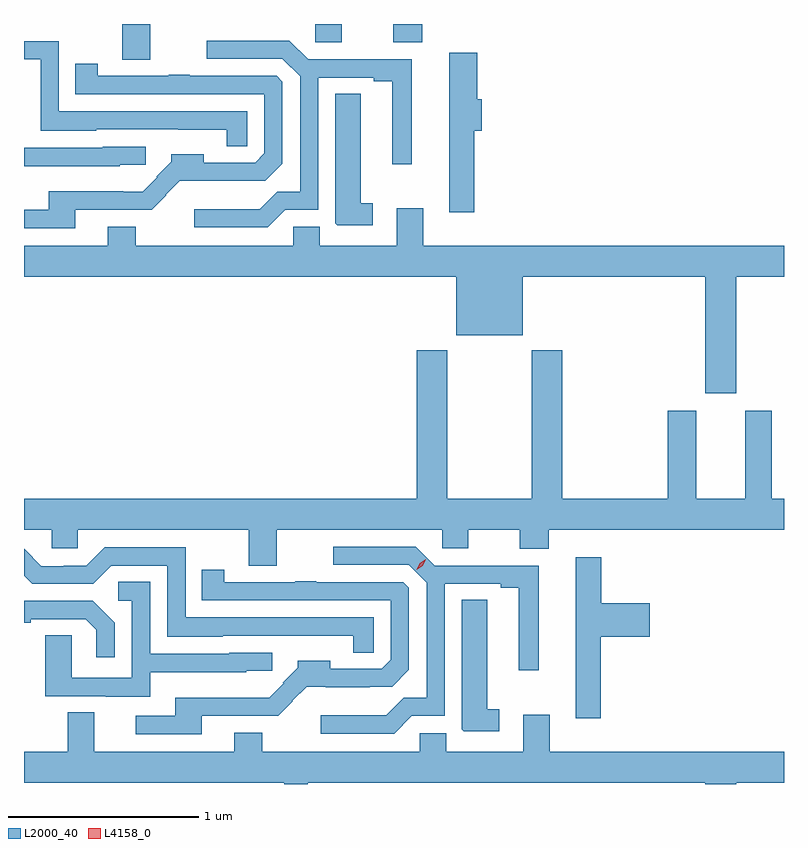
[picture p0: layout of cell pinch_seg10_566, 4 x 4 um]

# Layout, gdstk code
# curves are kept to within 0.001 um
import gdstk
lib = gdstk.Library(unit=1e-6, precision=1e-09)
def R(c, l, rs):  # rectangles x0, y0, x1, y1
    for r in rs: c.add(gdstk.rectangle(r[:2], r[2:], *l))
def P(c, l, *ps):  # polygons
    for p in ps: c.add(gdstk.Polygon(p, *l))
L2000_40 = (2000, 40)
L4158_0 = (4158, 0)

pinch_seg10_566 = lib.new_cell('pinch_seg10_566')
R(pinch_seg10_566, L2000_40, [(305.242,1289.47,305.389,1289.658), (306.668,1289.561,306.821,1289.658), (306.258,1289.562,306.397,1289.658)])
P(pinch_seg10_566, L2000_40, [(306.099,1288.68),(306.273,1288.68),(306.273,1289.376),(306.566,1289.376),(306.566,1289.356),(306.662,1289.356),(306.662,1288.92),(306.766,1288.92),(306.766,1289.472),(306.22,1289.472),(306.121,1289.571),(305.685,1289.571),(305.685,1289.475),(306.084,1289.475),(306.177,1289.382),(306.177,1288.775),(306.056,1288.775),(305.965,1288.684),(305.619,1288.684),(305.619,1288.587),(306.006,1288.587)],
  [(305.898,1289.199),(304.908,1289.199),(304.908,1289.568),(304.724,1289.568),(304.724,1289.472),(304.812,1289.472),(304.812,1289.096),(305.103,1289.096),(305.103,1289.103),(305.535,1289.103),(305.535,1289.102),(305.79,1289.102),(305.79,1289.014),(305.898,1289.014)],
  [(307.094,1289.096),(307.133,1289.096),(307.133,1289.262),(307.109,1289.262),(307.109,1289.506),(306.962,1289.506),(306.962,1288.668),(307.094,1288.668)],
  [(304.993,1288.68),(305.397,1288.68),(305.473,1288.757),(305.471,1288.759),(305.545,1288.833),(305.879,1288.832),(305.879,1288.834),(305.995,1288.834),(306.084,1288.923),(306.084,1289.355),(306.054,1289.385),(305.597,1289.385),(305.597,1289.39),(305.485,1289.39),(305.485,1289.385),(305.112,1289.385),(305.112,1289.449),(304.993,1289.449),(304.993,1289.289),(305.988,1289.289),(305.988,1288.977),(305.94,1288.929),(305.671,1288.929),(305.671,1288.972),(305.5,1288.972),(305.5,1288.933),(305.421,1288.854),(305.424,1288.851),(305.348,1288.775),(305.246,1288.775),(305.246,1288.777),(304.853,1288.777),(304.853,1288.68),(304.724,1288.68),(304.724,1288.584),(304.993,1288.584)],
  [(306.559,1288.715),(306.496,1288.715),(306.496,1289.291),(306.362,1289.291),(306.362,1288.609),(306.372,1288.599),(306.559,1288.599)],
  [(305.229,1288.917),(305.364,1288.917),(305.364,1289.013),(305.139,1289.013),(305.139,1289.007),(304.724,1289.007),(304.724,1288.91),(305.229,1288.91)],
  [(308.473,1288.328),(308.724,1288.328),(308.724,1288.492),(306.826,1288.492),(306.826,1288.687),(306.686,1288.687),(306.686,1288.492),(306.28,1288.492),(306.28,1288.59),(306.141,1288.59),(306.141,1288.492),(305.313,1288.492),(305.313,1288.591),(305.165,1288.591),(305.165,1288.492),(304.724,1288.492),(304.724,1288.328),(306.998,1288.328),(306.998,1288.019),(307.348,1288.019),(307.348,1288.328),(308.309,1288.328),(308.309,1287.714),(308.473,1287.714)],
  [(306.055,1286.996),(306.924,1286.996),(306.924,1286.898),(307.063,1286.898),(307.063,1286.996),(307.334,1286.996),(307.334,1286.897),(307.487,1286.897),(307.487,1286.996),(308.724,1286.996),(308.724,1287.16),(308.659,1287.16),(308.659,1287.622),(308.519,1287.622),(308.519,1287.16),(308.263,1287.16),(308.263,1287.622),(308.111,1287.622),(308.111,1287.16),(307.556,1287.16),(307.556,1287.94),(307.396,1287.94),(307.396,1287.16),(306.951,1287.16),(306.951,1287.94),(306.791,1287.94),(306.791,1287.16),(304.724,1287.16),(304.724,1286.996),(304.869,1286.996),(304.869,1286.898),(305.007,1286.898),(305.007,1286.996),(305.908,1286.996),(305.908,1286.806),(306.055,1286.806)],
  [(306.765,1286.016),(306.939,1286.016),(306.939,1286.712),(307.232,1286.712),(307.232,1286.692),(307.328,1286.692),(307.328,1286.256),(307.432,1286.256),(307.432,1286.808),(306.886,1286.808),(306.787,1286.907),(306.351,1286.907),(306.351,1286.811),(306.75,1286.811),(306.843,1286.718),(306.843,1286.111),(306.722,1286.111),(306.631,1286.02),(306.285,1286.02),(306.285,1285.923),(306.672,1285.923)],
  [(306.564,1286.535),(305.574,1286.535),(305.574,1286.904),(305.148,1286.904),(305.052,1286.808),(304.932,1286.808),(304.932,1286.805),(304.815,1286.805),(304.724,1286.896),(304.724,1286.755),(304.767,1286.712),(305.088,1286.712),(305.184,1286.808),(305.478,1286.808),(305.478,1286.432),(305.769,1286.432),(305.769,1286.439),(306.456,1286.438),(306.456,1286.35),(306.564,1286.35)],
  [(307.76,1286.432),(308.017,1286.432),(308.017,1286.61),(307.763,1286.61),(307.763,1286.851),(307.628,1286.851),(307.628,1286.004),(307.76,1286.004)],
  [(305.659,1286.016),(306.063,1286.016),(306.139,1286.093),(306.137,1286.095),(306.211,1286.169),(306.545,1286.168),(306.545,1286.17),(306.661,1286.17),(306.75,1286.259),(306.75,1286.691),(306.72,1286.721),(306.263,1286.721),(306.263,1286.726),(306.151,1286.726),(306.151,1286.721),(305.778,1286.721),(305.778,1286.785),(305.659,1286.785),(305.659,1286.625),(306.654,1286.625),(306.654,1286.313),(306.606,1286.265),(306.337,1286.265),(306.337,1286.308),(306.166,1286.308),(306.166,1286.269),(306.087,1286.19),(306.09,1286.187),(306.014,1286.111),(305.912,1286.111),(305.912,1286.113),(305.519,1286.113),(305.519,1286.016),(305.313,1286.016),(305.313,1285.92),(305.659,1285.92)],
  [(305.389,1286.246),(305.895,1286.246),(305.895,1286.253),(306.03,1286.253),(306.03,1286.349),(305.805,1286.349),(305.805,1286.343),(305.388,1286.343),(305.388,1286.723),(305.22,1286.723),(305.22,1286.622),(305.292,1286.622),(305.292,1286.217),(304.974,1286.217),(304.974,1286.441),(304.835,1286.441),(304.835,1286.121),(305.153,1286.121),(305.153,1286.117),(305.389,1286.117)],
  [(307.225,1286.051),(307.162,1286.051),(307.162,1286.627),(307.028,1286.627),(307.028,1285.945),(307.038,1285.935),(307.225,1285.935)],
  [(305.202,1286.506),(305.086,1286.622),(304.724,1286.622),(304.724,1286.506),(304.759,1286.506),(304.759,1286.526),(305.048,1286.526),(305.105,1286.469),(305.105,1286.325),(305.202,1286.325)],
  [(306.217,1285.664),(308.309,1285.664),(308.309,1285.658),(308.473,1285.658),(308.473,1285.664),(308.724,1285.664),(308.724,1285.828),(307.492,1285.828),(307.492,1286.023),(307.352,1286.023),(307.352,1285.828),(306.946,1285.828),(306.946,1285.926),(306.807,1285.926),(306.807,1285.828),(305.979,1285.828),(305.979,1285.927),(305.831,1285.927),(305.831,1285.828),(305.095,1285.828),(305.095,1286.036),(304.955,1286.036),(304.955,1285.828),(304.724,1285.828),(304.724,1285.664),(306.095,1285.664),(306.095,1285.658),(306.217,1285.658)])
P(pinch_seg10_566, L4158_0, [(306.792,1286.785),(306.792,1286.785),(306.808,1286.819),(306.839,1286.84),(306.839,1286.84),(306.839,1286.84),(306.823,1286.806),(306.792,1286.785)])

lib.write_gds('pinch_seg10_566.gds')
